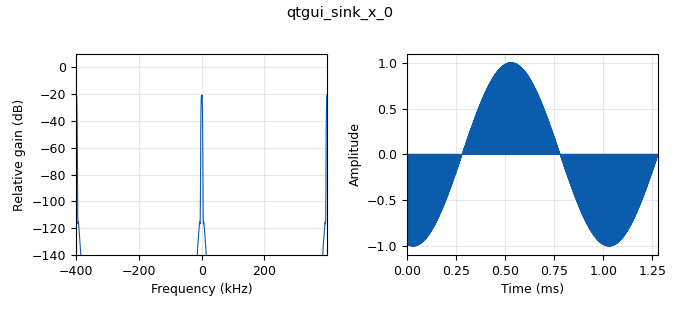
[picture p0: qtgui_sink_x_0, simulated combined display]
options:
  parameters:
    author: vicente
    generate_options: qt_gui
    id: act4prevlab3cd
    output_language: python
    title: Not titled yet
  states: {}

blocks:
- name: samp_rate
  id: variable
  parameters:
    value: '800000'
  states: {}
- name: analog_sig_source_x_0
  id: analog_sig_source_x
  parameters:
    alias: onda cuadrada
    amp: '1'
    freq: '10000000'
    offset: '0'
    phase: '0'
    samp_rate: samp_rate
    type: float
    waveform: analog.GR_SQR_WAVE
  states: {}
- name: analog_sig_source_x_0_0
  id: analog_sig_source_x
  parameters:
    alias: sinusoidal
    amp: '1'
    freq: '1000'
    offset: '0'
    phase: '0'
    samp_rate: samp_rate
    type: float
    waveform: analog.GR_SIN_WAVE
  states: {}
- name: blocks_multiply_xx_0
  id: blocks_multiply_xx
  parameters:
    type: float
  states: {}
- name: blocks_throttle_0
  id: blocks_throttle
  parameters:
    samples_per_second: samp_rate
    type: float
  states: {}
- name: qtgui_sink_x_0
  id: qtgui_sink_x
  parameters:
    bw: samp_rate
    fc: '0'
    fftsize: '1024'
    type: float
  states: {}

connections:
- [analog_sig_source_x_0, '0', blocks_multiply_xx_0, '0']
- [analog_sig_source_x_0_0, '0', blocks_multiply_xx_0, '1']
- [blocks_multiply_xx_0, '0', blocks_throttle_0, '0']
- [blocks_throttle_0, '0', qtgui_sink_x_0, '0']

metadata:
  file_format: 1
